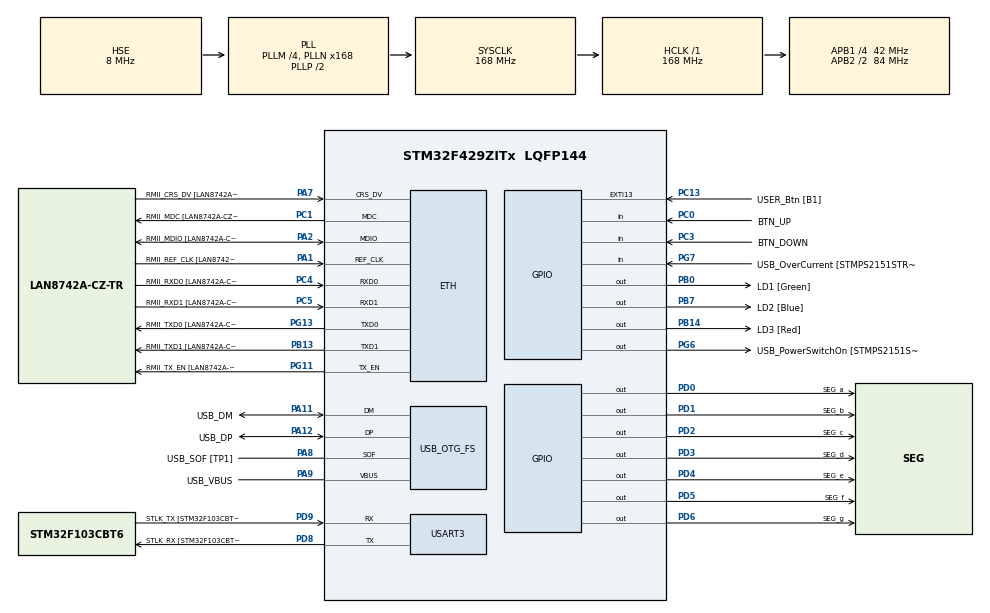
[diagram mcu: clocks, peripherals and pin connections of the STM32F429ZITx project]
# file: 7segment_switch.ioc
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ETH.MediaInterface=HAL_ETH_RMII_MODE
ETH.PHY_Name=LAN8742A_PHY_ADDRESS
ETH.PHY_Value=0
ETH.PhyAddress=0
Mcu.Family=STM32F4
Mcu.Name=STM32F429ZITx
Mcu.Package=LQFP144
NVIC.PriorityGroup=NVIC_PRIORITYGROUP_4
PA1.GPIO_Label=RMII_REF_CLK [LAN8742A-CZ-TR_REFCLK0]
PA1.Mode=RMII
PA1.Signal=ETH_REF_CLK
PA10.GPIO_Label=USB_ID
PA10.Signal=USB_OTG_FS_ID
PA11.GPIO_Label=USB_DM
PA11.Mode=Device_Only
PA11.Signal=USB_OTG_FS_DM
PA12.GPIO_Label=USB_DP
PA12.Mode=Device_Only
PA12.Signal=USB_OTG_FS_DP
PA13.GPIO_Label=TMS
PA13.Mode=Serial_Wire
PA13.Signal=SYS_JTMS-SWDIO
PA14.GPIO_Label=TCK
PA14.Mode=Serial_Wire
PA14.Signal=SYS_JTCK-SWCLK
PA2.GPIO_Label=RMII_MDIO [LAN8742A-CZ-TR_MDIO]
PA2.Mode=RMII
PA2.Signal=ETH_MDIO
PA7.GPIO_Label=RMII_CRS_DV [LAN8742A-CZ-TR_CRS_DV]
PA7.Mode=RMII
PA7.Signal=ETH_CRS_DV
PA8.GPIO_Label=USB_SOF [TP1]
PA8.Mode=Activate_SOF_FS
PA8.Signal=USB_OTG_FS_SOF
PA9.GPIO_Label=USB_VBUS
PA9.Mode=Activate_VBUS
PA9.Signal=USB_OTG_FS_VBUS
PB0.GPIO_Label=LD1 [Green]
PB0.Signal=GPIO_Output
PB13.GPIO_Label=RMII_TXD1 [LAN8742A-CZ-TR_TXD1]
PB13.Mode=RMII
PB13.Signal=ETH_TXD1
PB14.GPIO_Label=LD3 [Red]
PB14.Signal=GPIO_Output
PB7.GPIO_Label=LD2 [Blue]
PB7.Signal=GPIO_Output
PC0.GPIO_Label=BTN_UP
PC0.GPIO_PuPd=GPIO_PULLUP
PC0.Signal=GPIO_Input
PC1.GPIO_Label=RMII_MDC [LAN8742A-CZ-TR_MDC]
PC1.Mode=RMII
PC1.Signal=ETH_MDC
PC13.GPIO_Label=USER_Btn [B1]
PC13.Signal=GPXTI13
PC14/OSC32_IN.Mode=LSE-External-Oscillator
PC14/OSC32_IN.Signal=RCC_OSC32_IN
PC15/OSC32_OUT.Mode=LSE-External-Oscillator
PC15/OSC32_OUT.Signal=RCC_OSC32_OUT
PC3.GPIO_Label=BTN_DOWN
PC3.GPIO_PuPd=GPIO_PULLUP
PC3.Signal=GPIO_Input
PC4.GPIO_Label=RMII_RXD0 [LAN8742A-CZ-TR_RXD0]
PC4.Mode=RMII
PC4.Signal=ETH_RXD0
PC5.GPIO_Label=RMII_RXD1 [LAN8742A-CZ-TR_RXD1]
PC5.Mode=RMII
PC5.Signal=ETH_RXD1
PD0.GPIO_Label=SEG_a
PD0.GPIO_PuPd=GPIO_NOPULL
PD0.Signal=GPIO_Output
PD1.GPIO_Label=SEG_b
PD1.GPIO_PuPd=GPIO_NOPULL
PD1.Signal=GPIO_Output
PD2.GPIO_Label=SEG_c
PD2.GPIO_PuPd=GPIO_NOPULL
PD2.Signal=GPIO_Output
PD3.GPIO_Label=SEG_d
PD3.GPIO_PuPd=GPIO_NOPULL
PD3.Signal=GPIO_Output
PD4.GPIO_Label=SEG_e
PD4.GPIO_PuPd=GPIO_NOPULL
PD4.Signal=GPIO_Output
PD5.GPIO_Label=SEG_f
PD5.GPIO_PuPd=GPIO_NOPULL
PD5.Signal=GPIO_Output
PD6.GPIO_Label=SEG_g
PD6.GPIO_PuPd=GPIO_NOPULL
PD6.Signal=GPIO_Output
PD8.GPIO_Label=STLK_RX [STM32F103CBT6_PA3]
PD8.Mode=Asynchronous
PD8.Signal=USART3_TX
PD9.GPIO_Label=STLK_TX [STM32F103CBT6_PA2]
PD9.Mode=Asynchronous
PD9.Signal=USART3_RX
PG11.GPIO_Label=RMII_TX_EN [LAN8742A-CZ-TR_TXEN]
PG11.Mode=RMII
PG11.Signal=ETH_TX_EN
PG13.GPIO_Label=RMII_TXD0 [LAN8742A-CZ-TR_TXD0]
PG13.Mode=RMII
PG13.Signal=ETH_TXD0
PG6.GPIO_Label=USB_PowerSwitchOn [STMPS2151STR_EN]
PG6.Signal=GPIO_Output
PG7.GPIO_Label=USB_OverCurrent [STMPS2151STR_FAULT]
PG7.Signal=GPIO_Input
PH0/OSC_IN.GPIO_Label=MCO [STM32F103CBT6_PA8]
PH0/OSC_IN.Mode=HSE-External-Clock-Source
PH0/OSC_IN.Signal=RCC_OSC_IN
PH1/OSC_OUT.Mode=HSE-External-Clock-Source
PH1/OSC_OUT.Signal=RCC_OSC_OUT
ProjectManager.HeapSize=0x200
ProjectManager.StackSize=0x400
ProjectManager.TargetToolchain=STM32CubeIDE
RCC.48MHZClocksFreq_Value=48000000
RCC.AHBFreq_Value=168000000
RCC.APB1CLKDivider=RCC_HCLK_DIV4
RCC.APB1Freq_Value=42000000
RCC.APB1TimFreq_Value=84000000
RCC.APB2CLKDivider=RCC_HCLK_DIV2
RCC.APB2Freq_Value=84000000
RCC.APB2TimCLKDivider=2
RCC.APB2TimFreq_Value=168000000
RCC.CortexFreq_Value=168000000
RCC.HCLKFreq_Value=168000000
RCC.HSE_VALUE=8000000
RCC.HSI_VALUE=16000000
RCC.PLLM=4
RCC.PLLMUL=RCC_PLL_MUL9
RCC.PLLN=168
RCC.PLLQ=7
RCC.PRESCALERUSB=RCC_USBCLKSOURCE_PLL_DIV1_5
RCC.SYSCLKFreq_VALUE=168000000
RCC.SYSCLKSource=RCC_SYSCLKSOURCE_PLLCLK
RCC.SYSCLKSourceVirtual=RCC_SYSCLKSOURCE_PLLCLK
RCC.USBFreq_Value=48000000
RCC.VCOOutputFreq_Value=336000000
USART3.VirtualMode=VM_ASYNC
USB_OTG_FS.VirtualMode=Device_Only
board=NUCLEO-F429ZI

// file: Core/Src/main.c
/* USER CODE BEGIN Header */
#include "stm32f4xx_hal.h"
/**
  ******************************************************************************
  * @file           : main.c
  * @brief          : Main program body
  ******************************************************************************
  * @attention
  *
  * Copyright (c) 2023 STMicroelectronics.
  * All rights reserved.
  *
  * This software is licensed under terms that can be found in the LICENSE file
  * in the root directory of this software component.
  * If no LICENSE file comes with this software, it is provided AS-IS.
  *
  ******************************************************************************
  */
/* USER CODE END Header */
#include "main.h"
#include "eth.h"
#include "usart.h"
#include "usb_otg.h"
#include "gpio.h"

/* USER CODE BEGIN PV */
int counter = 0;
/* USER CODE END PV */

void SystemClock_Config(void);
/* USER CODE BEGIN PFP */
static void displayDigit(uint8_t digit);
/* USER CODE END PFP */

int main(void)
{

  /* MCU Configuration--------------------------------------------------------*/

  /* Reset of all peripherals, Initializes the Flash interface and the Systick. */
  HAL_Init();

  /* Configure the system clock */
  SystemClock_Config();

  /* Initialize all configured peripherals */
  MX_GPIO_Init();
  MX_ETH_Init();
  MX_USART3_UART_Init();
  MX_USB_OTG_FS_PCD_Init();

  /* Infinite loop */
  /* USER CODE BEGIN WHILE */
  while (1)
  {
	  // Check the state of the Up button
	  if (HAL_GPIO_ReadPin(GPIOC, GPIO_PIN_0) == GPIO_PIN_RESET)
	  {
		HAL_Delay(200); // DeBounce delay
		while (HAL_GPIO_ReadPin(GPIOC, GPIO_PIN_0) == GPIO_PIN_RESET) {} // Wait for button release

		counter++;

		if (counter > 9)
		{
		  counter = 0;
		}

		displayDigit(counter);
	  }

	  // Check the state of the Down button
	  if (HAL_GPIO_ReadPin(GPIOC, GPIO_PIN_3) == GPIO_PIN_RESET)
	  {
		HAL_Delay(200); // DeBounce delay
		while (HAL_GPIO_ReadPin(GPIOC, GPIO_PIN_3) == GPIO_PIN_RESET) {} // Wait for button release

		counter--;

		if (counter < 0)
		{
		  counter = 9;
		}

		displayDigit(counter);
	  }
    /* USER CODE END WHILE */

  }
}

void SystemClock_Config(void)
{
  RCC_OscInitTypeDef RCC_OscInitStruct = {0};
  RCC_ClkInitTypeDef RCC_ClkInitStruct = {0};

  /** Configure the main internal regulator output voltage
  */
  __HAL_RCC_PWR_CLK_ENABLE();
  __HAL_PWR_VOLTAGESCALING_CONFIG(PWR_REGULATOR_VOLTAGE_SCALE1);

  /** Initializes the RCC Oscillators according to the specified parameters
  * in the RCC_OscInitTypeDef structure.
  */
  RCC_OscInitStruct.OscillatorType = RCC_OSCILLATORTYPE_HSE;
  RCC_OscInitStruct.HSEState = RCC_HSE_BYPASS;
  RCC_OscInitStruct.PLL.PLLState = RCC_PLL_ON;
  RCC_OscInitStruct.PLL.PLLSource = RCC_PLLSOURCE_HSE;
  RCC_OscInitStruct.PLL.PLLM = 4;
  RCC_OscInitStruct.PLL.PLLN = 168;
  RCC_OscInitStruct.PLL.PLLP = RCC_PLLP_DIV2;
  RCC_OscInitStruct.PLL.PLLQ = 7;
  if (HAL_RCC_OscConfig(&RCC_OscInitStruct) != HAL_OK)
  {
    Error_Handler();
  }

  /** Initializes the CPU, AHB and APB buses clocks
  */
  RCC_ClkInitStruct.ClockType = RCC_CLOCKTYPE_HCLK|RCC_CLOCKTYPE_SYSCLK
                              |RCC_CLOCKTYPE_PCLK1|RCC_CLOCKTYPE_PCLK2;
  RCC_ClkInitStruct.SYSCLKSource = RCC_SYSCLKSOURCE_PLLCLK;
  RCC_ClkInitStruct.AHBCLKDivider = RCC_SYSCLK_DIV1;
  RCC_ClkInitStruct.APB1CLKDivider = RCC_HCLK_DIV4;
  RCC_ClkInitStruct.APB2CLKDivider = RCC_HCLK_DIV2;

  if (HAL_RCC_ClockConfig(&RCC_ClkInitStruct, FLASH_LATENCY_5) != HAL_OK)
  {
    Error_Handler();
  }
}

/* USER CODE BEGIN 4 */
void displayDigit(uint8_t digit)
{
  // Define the 7-segment display patterns for digits 0 to 9
  const uint8_t segmentPatterns[10] = { 0x3F, 0x06, 0x5B, 0x4F, 0x66, 0x6D, 0x7D, 0x07, 0x7F, 0x6F };

  // Output the pattern to the 7-segment display
  HAL_GPIO_WritePin(GPIOD, GPIO_PIN_0, (segmentPatterns[digit] & 0x01) ? GPIO_PIN_RESET : GPIO_PIN_SET);
  HAL_GPIO_WritePin(GPIOD, GPIO_PIN_1, (segmentPatterns[digit] & 0x02) ? GPIO_PIN_RESET : GPIO_PIN_SET);
  HAL_GPIO_WritePin(GPIOD, GPIO_PIN_2, (segmentPatterns[digit] & 0x04) ? GPIO_PIN_RESET : GPIO_PIN_SET);
  HAL_GPIO_WritePin(GPIOD, GPIO_PIN_3, (segmentPatterns[digit] & 0x08) ? GPIO_PIN_RESET : GPIO_PIN_SET);
  HAL_GPIO_WritePin(GPIOD, GPIO_PIN_4, (segmentPatterns[digit] & 0x10) ? GPIO_PIN_RESET : GPIO_PIN_SET);
  HAL_GPIO_WritePin(GPIOD, GPIO_PIN_5, (segmentPatterns[digit] & 0x20) ? GPIO_PIN_RESET : GPIO_PIN_SET);
  HAL_GPIO_WritePin(GPIOD, GPIO_PIN_6, (segmentPatterns[digit] & 0x40) ? GPIO_PIN_RESET : GPIO_PIN_SET);
}
/* USER CODE END 4 */

void Error_Handler(void)
{
  __disable_irq();
  while (1)
  {
  }
}
